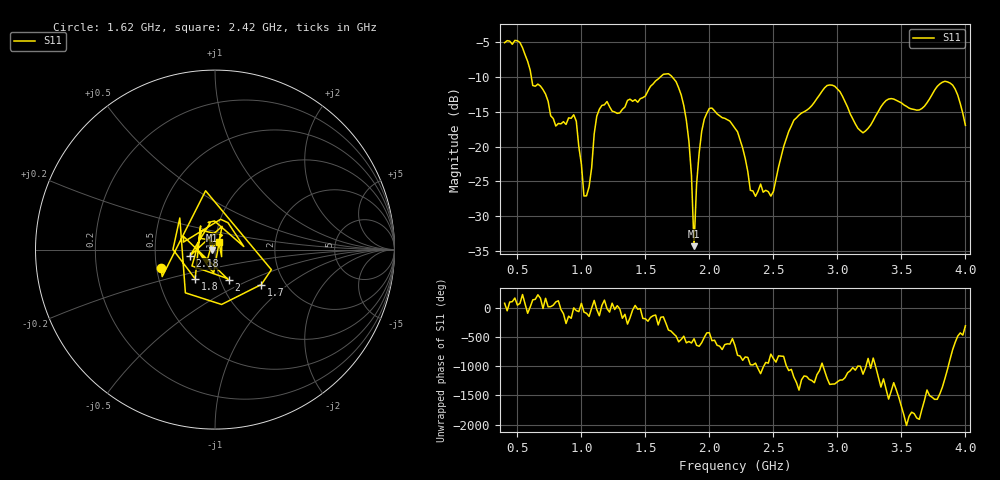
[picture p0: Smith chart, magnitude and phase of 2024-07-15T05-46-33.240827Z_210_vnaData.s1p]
!Created with skrf (http://scikit-rf.org).
# Hz S RI R 50.0
!freq ReS11 ImS11
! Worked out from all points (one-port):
!   181 points, 400 MHz to 4 GHz, reference 50 ohm
!   lowest |S11| = -34.3 dB at 1.88 GHz (marker M1), VSWR 1.04, Z = 48.1 - j0.353 ohm
!   |S11| at or under -10 dB: 608.8 MHz to 1.617 GHz (1.008 GHz wide, 90.6 % of centre); 1.709 GHz to end of sweep
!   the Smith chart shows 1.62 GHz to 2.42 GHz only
!   S11 on the Smith chart (normalised r, x): 1.62 GHz: 0.53, -0.12; 1.7 GHz: 1.52, -0.66; 1.8 GHz: 0.76, -0.26; 2 GHz: 1.10, -0.39; 2.18 GHz: 0.75, -0.05; 2.42 GHz: 1.04, +0.09
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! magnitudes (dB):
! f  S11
! 400 MHz  -5.1
! 520 MHz  -5.1
! 860 MHz  -16.4
! 960 MHz  -16.4
! 1.04 GHz  -27.1
! 1.14 GHz  -14.6
! 1.3 GHz  -15.2
! 1.62 GHz  -9.9
! 1.7 GHz  -9.8
! 1.76 GHz  -11.6
! 1.8 GHz  -14.1
! 1.86 GHz  -24.2
! 1.88 GHz  -34.3
! 1.92 GHz  -20.9
! 2 GHz  -14.5
! 2.18 GHz  -16.9
! 2.2 GHz  -17.4
! 2.32 GHz  -26.3
! 2.42 GHz  -26.6
! 2.5 GHz  -26.5
! 2.66 GHz  -16.2
! 2.94 GHz  -11.2
! 3.1 GHz  -15.3
! 3.2 GHz  -18.0
! 3.4 GHz  -13.2
! 3.56 GHz  -14.5
! 3.86 GHz  -10.7
! 4 GHz  -17.0
